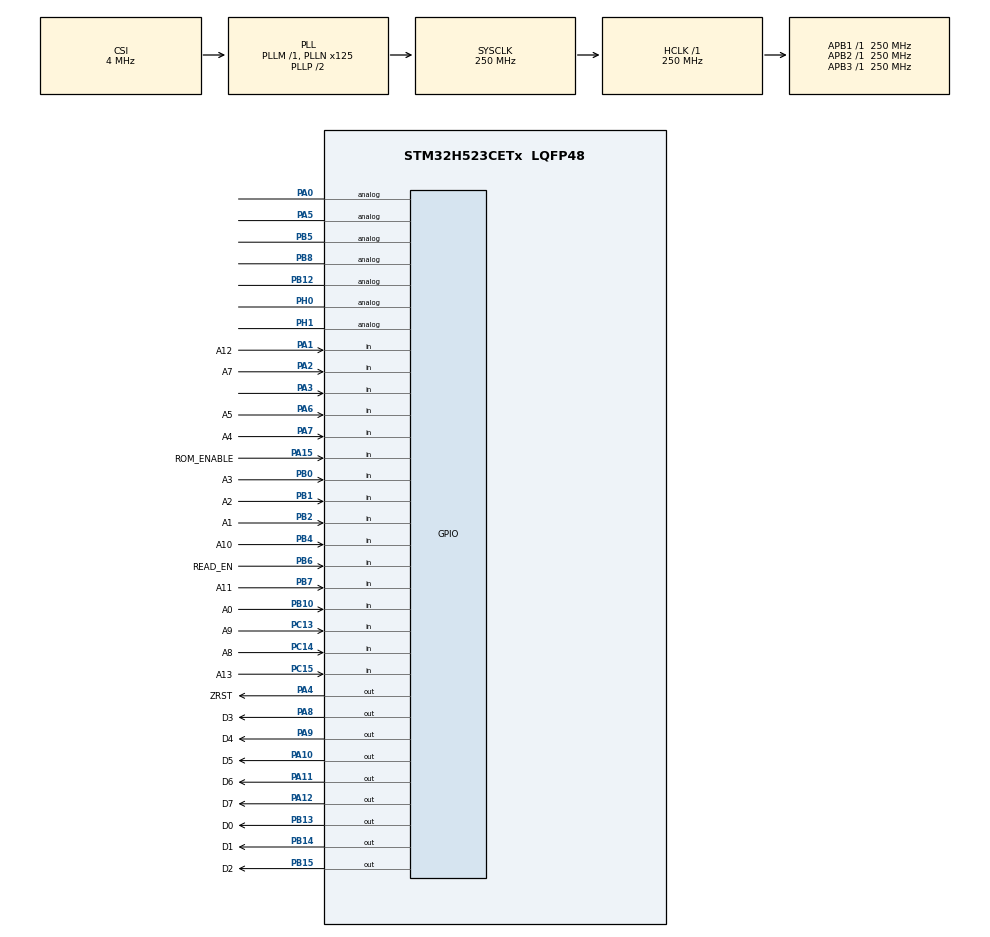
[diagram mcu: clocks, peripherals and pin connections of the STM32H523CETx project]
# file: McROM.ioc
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BOOTPATH.BootPathName=LEGACY
BOOTPATH.UserSelectedBootPath=LEGACY
CORTEX_M33_NS.Number-Cortex_Memory_Protection_Unit_Region0_OTP_RO_AREAS_Settings=MPU_REGION_NUMBER0
CORTEX_M33_NS.default_mode_Activation=1
CORTEX_M33_NS.userName=CORTEX_M33
Mcu.Family=STM32H5
Mcu.Name=STM32H523CETx
Mcu.Package=LQFP48
NVIC.PriorityGroup=NVIC_PRIORITYGROUP_4
PA0.Signal=GPIO_Analog
PA1.GPIO_Label=A12
PA1.Signal=GPIO_Input
PA10.GPIO_Label=D5
PA10.GPIO_Speed=GPIO_SPEED_FREQ_VERY_HIGH
PA10.Signal=GPIO_Output
PA11.GPIO_Label=D6
PA11.GPIO_Speed=GPIO_SPEED_FREQ_VERY_HIGH
PA11.Signal=GPIO_Output
PA12.GPIO_Label=D7
PA12.GPIO_Speed=GPIO_SPEED_FREQ_VERY_HIGH
PA12.Signal=GPIO_Output
PA13(JTMS/SWDIO).Mode=Serial_Wire
PA13(JTMS/SWDIO).Signal=DEBUG_JTMS-SWDIO
PA14(JTCK/SWCLK).Mode=Serial_Wire
PA14(JTCK/SWCLK).Signal=DEBUG_JTCK-SWCLK
PA15(JTDI).GPIO_Label=ROM_ENABLE
PA15(JTDI).Signal=GPIO_Input
PA2.GPIO_Label=A7
PA2.Signal=GPIO_Input
PA3.Signal=GPIO_Input
PA4.GPIO_Label=ZRST
PA4.GPIO_ModeDefaultOutputPP=GPIO_MODE_OUTPUT_OD
PA4.GPIO_PuPd=GPIO_NOPULL
PA4.PinState=GPIO_PIN_SET
PA4.Signal=GPIO_Output
PA5.Signal=GPIO_Analog
PA6.GPIO_Label=A5
PA6.Signal=GPIO_Input
PA7.GPIO_Label=A4
PA7.Signal=GPIO_Input
PA8.GPIO_Label=D3
PA8.GPIO_Speed=GPIO_SPEED_FREQ_VERY_HIGH
PA8.Signal=GPIO_Output
PA9.GPIO_Label=D4
PA9.GPIO_Speed=GPIO_SPEED_FREQ_VERY_HIGH
PA9.Signal=GPIO_Output
PB0.GPIO_Label=A3
PB0.Signal=GPIO_Input
PB1.GPIO_Label=A2
PB1.Signal=GPIO_Input
PB10.GPIO_Label=A0
PB10.Signal=GPIO_Input
PB12.Signal=GPIO_Analog
PB13.GPIO_Label=D0
PB13.GPIO_PuPd=GPIO_NOPULL
PB13.GPIO_Speed=GPIO_SPEED_FREQ_MEDIUM
PB13.Signal=GPIO_Output
PB14.GPIO_Label=D1
PB14.GPIO_PuPd=GPIO_NOPULL
PB14.GPIO_Speed=GPIO_SPEED_FREQ_MEDIUM
PB14.Signal=GPIO_Output
PB15.GPIO_Label=D2
PB15.GPIO_PuPd=GPIO_NOPULL
PB15.GPIO_Speed=GPIO_SPEED_FREQ_VERY_HIGH
PB15.Signal=GPIO_Output
PB2.GPIO_Label=A1
PB2.Signal=GPIO_Input
PB3(JTDO/TRACESWO).Signal=DEBUG_JTDO-SWO
PB4(NJTRST).GPIO_Label=A10
PB4(NJTRST).Signal=GPIO_Input
PB5.Signal=GPIO_Analog
PB6.GPIO_Label=READ_EN
PB6.Signal=GPIO_Input
PB7.GPIO_Label=A11
PB7.Signal=GPIO_Input
PB8.Signal=GPIO_Analog
PC13.GPIO_Label=A9
PC13.Signal=GPIO_Input
PC14-OSC32_IN(OSC32_IN).GPIO_Label=A8
PC14-OSC32_IN(OSC32_IN).Signal=GPIO_Input
PC15-OSC32_OUT(OSC32_OUT).GPIO_Label=A13
PC15-OSC32_OUT(OSC32_OUT).Signal=GPIO_Input
PH0-OSC_IN(PH0).Signal=GPIO_Analog
PH1-OSC_OUT(PH1).Signal=GPIO_Analog
ProjectManager.HeapSize=0x200
ProjectManager.StackSize=0x400
ProjectManager.TargetToolchain=CMake
RCC.ADCFreq_Value=250000000
RCC.AHBFreq_Value=250000000
RCC.APB1Freq_Value=250000000
RCC.APB1TimFreq_Value=250000000
RCC.APB2Freq_Value=250000000
RCC.APB2TimFreq_Value=250000000
RCC.APB3Freq_Value=250000000
RCC.CSI_VALUE=4000000
RCC.CortexFreq_Value=250000000
RCC.EPOD_VALUE=4000000
RCC.HCLKFreq_Value=250000000
RCC.HSE_VALUE=25000000
RCC.HSI48_VALUE=48000000
RCC.HSI_VALUE=64000000
RCC.LSE_VALUE=32768
RCC.LSIRC_VALUE=32000
RCC.PLLFRACN=0
RCC.PLLN=125
RCC.SYSCLKFreq_VALUE=250000000
RCC.SYSCLKSource=RCC_SYSCLKSOURCE_PLLCLK
RCC.USBFreq_Value=48000000
RCC.VCOOutputFreq_Value=500000000
VP_BOOTPATH_VS_BOOTPATH.Mode=BP_Activate
VP_CORTEX_M33_NS_VS_Hclk.Mode=Hclk_Mode
VP_ICACHE_VS_ICACHE.Mode=DirectMappedCache
VP_MEMORYMAP_VS_MEMORYMAP.Mode=CurAppReg
VP_PWR_VS_LPOM.Mode=PowerOptimisation
VP_PWR_VS_SECSignals.Mode=Security/Privilege
board=custom

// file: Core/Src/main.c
/* USER CODE BEGIN Header */
/**
  ******************************************************************************
  * @file           : main.c
  * @brief          : McROM STM32H523CET6
  ******************************************************************************
  */
/* USER CODE END Header */
#include "main.h"
#include "icache.h"
#include "gpio.h"

/* USER CODE BEGIN Includes */
#include <string.h>
/* USER CODE END Includes */

/* USER CODE BEGIN PD */
#define ROM_SIZE_BYTES 0x4000     // Our ROM image is 16KB
/* USER CODE END PD */

/* USER CODE BEGIN PV */
// These are labels defined in the ROM binary object rom.o
extern uint8_t _rom_bin_start[];
extern uint8_t _rom_bin_end[];
extern uint8_t _rom_bin_size;

// Create an array to hold the ROM data. We'll be indexing into this
// array to fetch the byte appropriate to a given address.
uint8_t rom_ram[ROM_SIZE_BYTES] __attribute__((aligned(4)));

// Cached MODER values
uint32_t MODER_A_OUT, MODER_A_IN;
uint32_t MODER_B_OUT, MODER_B_IN;

// Fast Data Bus LUTs - they store BSRR values for atomic port writes
uint32_t lut_data_PA[256];
uint32_t lut_data_PB[256];

/* ***DEBUG*** Debugging Buffer */
// #define LOG_SIZE 256
// uint16_t debug_addr_log[LOG_SIZE];
// uint8_t  debug_val_log[LOG_SIZE];
// volatile uint8_t debug_idx = 0;
// volatile uint8_t log_enabled = 1;

/* USER CODE END PV */

void SystemClock_Config(void);
static void MPU_Config(void);
/* USER CODE BEGIN PFP */
// Prototype of the function that provides the main loop
void ROM_Emulator_Loop(GPIO_TypeDef *pA,
  GPIO_TypeDef *pB,
  GPIO_TypeDef *pC) __attribute__((section(".RamFunc"), noinline));
/* USER CODE END PFP */

int main(void)
{

  /* USER CODE BEGIN 1 */
  /*****************************************************************************
  *****  SETUP                                                             *****
  *****************************************************************************/
  /* RESET CONTROL
    We want to hold the 65C02 in reset BEFORE the STM32 does its own
    lengthy initialisation. PA4 is Open-Drain. Writing 0 pulls it LOW.

    By setting the reset state in the first few instructions of main() (using
    raw register access), the 65C02 is held low while the STM32's voltage
    regulator stabilizes, the crystal oscillator warms up, and the LUTs are
    calculated.

    We use the raw register here because HAL isn't initialised yet.
    This ensures the 6502 stays reset even while the STM32 boots up.

    When the code finally reaches pA->BSRR = (1 << 4); in the loop, the STM32
    is already running at 250MHz+ inside ITCM RAM. It will be waiting at the
    while (pA->IDR & (1 << 15)); line before the 65C02 even completes its
    internal 7-cycle reset sequence.
  */
  // RCC->IOPENR |= RCC_IOPENR_GPIOAEN; // Ensure Port A clock is on
  // GPIOA->BSRR = (1 << (4 + 16));     // Atomic Reset (Set PA4 Low)
  // GPIOA->OTYPER |= (1 << 4);         // Ensure PA4 is Open-Drain
  // GPIOA->MODER &= ~(3 << (4 * 2));   // Clear MODER
  // GPIOA->MODER |= (1 << (4 * 2));    // Set as Output
  /* USER CODE END 1 */

  /* MCU Configuration--------------------------------------------------------*/

  /* MPU Configuration--------------------------------------------------------*/
  MPU_Config();

  /* Reset of all peripherals, Initializes the Flash interface and the Systick. */
  HAL_Init();

  /* Configure the system clock */
  SystemClock_Config();

  /* Initialize all configured peripherals */
  MX_GPIO_Init();
  MX_ICACHE_Init();
  /* USER CODE BEGIN 2 */

  // Prepare RAM
  // The actual ROM size was defined in the binary object rom.o
  // as _binary_rom_bin_size
  uintptr_t actual_rom_size = (uintptr_t)&_rom_bin_size;
  // Fill our array with 0s
  memset(rom_ram, 0, ROM_SIZE_BYTES);
  // We'll now copy the ROM data that was written into flash into our
  // RAM-resident array, because it's faster to serve data from there.
  if (actual_rom_size > 0) {
    uint32_t copy_limit = (actual_rom_size > ROM_SIZE_BYTES)
      ? ROM_SIZE_BYTES : (uint32_t)actual_rom_size;
    memcpy(rom_ram, _rom_bin_start, copy_limit);
  } else {
    // Something went wrong, so let's fill the aray with NOP opcodes
    memset(rom_ram, 0xEA, ROM_SIZE_BYTES); // NOP Fill
  }

  // Pre-calculate MODER states
  MODER_A_IN  = GPIOA->MODER & ~0x03FF0000; // Clear PA8-PA12
  MODER_A_OUT = MODER_A_IN  | 0x01550000;  // Set PA8-PA12 to Output
  MODER_B_IN  = GPIOB->MODER & ~0xFC000000; // Clear PB13-PB15
  MODER_B_OUT = MODER_B_IN  | 0x54000000;  // Set PB13-PB15 to Output

  // Pre-calculate BSRR LUTs for the Data Bus
  // Data: D0-D2 (PB13-15), D3-D7 (PA8-12)
  for(int i=0; i<256; i++) {
      // Port A: D3-D7 are bits 3-7 of 'i'. Shift to PA8-12.
      // Reset mask is top 16 bits, Set mask is bottom 16 bits.
      lut_data_PA[i] = (0x1F00 << 16) | ((i & 0xF8) << 5);

      // Port B: D0-D2 are bits 0-2 of 'i'. Shift to PB13-15.
      lut_data_PB[i] = (0xE000 << 16) | ((i & 0x07) << 13);
  }

  // Set up some pointers to the relevant ports
  GPIO_TypeDef *pA = GPIOA;
  GPIO_TypeDef *pB = GPIOB;
  GPIO_TypeDef *pC = GPIOC;

  // Turn off stuff that might mess with timing/speed.
  HAL_SuspendTick();
  __disable_irq();

  // Call the function that provides the main loop. This runs in ITCM RAM.
  ROM_Emulator_Loop(pA, pB, pC);

  // We shouldn't get any further than this.
  /* USER CODE END 2 */

  /* Infinite loop */
  while (1)
  {

  }
}

void SystemClock_Config(void)
{
  RCC_OscInitTypeDef RCC_OscInitStruct = {0};
  RCC_ClkInitTypeDef RCC_ClkInitStruct = {0};

  /** Configure the main internal regulator output voltage
  */
  __HAL_PWR_VOLTAGESCALING_CONFIG(PWR_REGULATOR_VOLTAGE_SCALE0);

  while(!__HAL_PWR_GET_FLAG(PWR_FLAG_VOSRDY)) {}

  /** Initializes the RCC Oscillators according to the specified parameters
  * in the RCC_OscInitTypeDef structure.
  */
  RCC_OscInitStruct.OscillatorType = RCC_OSCILLATORTYPE_CSI;
  RCC_OscInitStruct.CSIState = RCC_CSI_ON;
  RCC_OscInitStruct.CSICalibrationValue = RCC_CSICALIBRATION_DEFAULT;
  RCC_OscInitStruct.PLL.PLLState = RCC_PLL_ON;
  RCC_OscInitStruct.PLL.PLLSource = RCC_PLL1_SOURCE_CSI;
  RCC_OscInitStruct.PLL.PLLM = 1;
  RCC_OscInitStruct.PLL.PLLN = 125;
  RCC_OscInitStruct.PLL.PLLP = 2;
  RCC_OscInitStruct.PLL.PLLQ = 2;
  RCC_OscInitStruct.PLL.PLLR = 2;
  RCC_OscInitStruct.PLL.PLLRGE = RCC_PLL1_VCIRANGE_2;
  RCC_OscInitStruct.PLL.PLLVCOSEL = RCC_PLL1_VCORANGE_WIDE;
  RCC_OscInitStruct.PLL.PLLFRACN = 0;
  if (HAL_RCC_OscConfig(&RCC_OscInitStruct) != HAL_OK)
  {
    Error_Handler();
  }

  /** Initializes the CPU, AHB and APB buses clocks
  */
  RCC_ClkInitStruct.ClockType = RCC_CLOCKTYPE_HCLK|RCC_CLOCKTYPE_SYSCLK
                              |RCC_CLOCKTYPE_PCLK1|RCC_CLOCKTYPE_PCLK2
                              |RCC_CLOCKTYPE_PCLK3;
  RCC_ClkInitStruct.SYSCLKSource = RCC_SYSCLKSOURCE_PLLCLK;
  RCC_ClkInitStruct.AHBCLKDivider = RCC_SYSCLK_DIV1;
  RCC_ClkInitStruct.APB1CLKDivider = RCC_HCLK_DIV1;
  RCC_ClkInitStruct.APB2CLKDivider = RCC_HCLK_DIV1;
  RCC_ClkInitStruct.APB3CLKDivider = RCC_HCLK_DIV1;

  if (HAL_RCC_ClockConfig(&RCC_ClkInitStruct, FLASH_LATENCY_5) != HAL_OK)
  {
    Error_Handler();
  }

  /** Configure the programming delay
  */
  __HAL_FLASH_SET_PROGRAM_DELAY(FLASH_PROGRAMMING_DELAY_2);
}

/* USER CODE BEGIN 4 */
/**
  * @brief Core emulator loop, running in ITCM RAM
  * Shift-and-mask address reconstruction & BSRR LUT data drive.
  */
__attribute__((section(".RamFunc"), noinline))
void ROM_Emulator_Loop(GPIO_TypeDef *pA, GPIO_TypeDef *pB, GPIO_TypeDef *pC) {
    /* RELEASE THE 65C02:
    Now that the STM32 is fully initialised, in ITCM RAM, and interrupts are
    off, we release the ZRST line (PA4). Setting BSRR bit 4 pulls it High-Z,
    allowing the external pull-up to bring the 6502 to life.
    */
    pA->BSRR = (1 << 4);

    while (1) {

    // Wait for Chip Enable (/ROM_ENABLE) on pin 15 to go LOW
    while (pA->IDR & (1 << 15));

    // A very tiny delay to let the address bus stabilize
    // 6502 addresses can have "skew" where some bits arrive slightly later.
    __asm__("nop"); __asm__("nop"); __asm__("nop"); __asm__("nop");

    // We did previously wait for the PHI2-qualified /OE (/READ_EN)
    // to be low. But adding this broke things.
    // while (pB->IDR & (1 << 6));

    // Sample all address ports immediately to get a snapshot of their state.
    uint32_t rA = pA->IDR;
    uint32_t rB = pB->IDR;
    uint32_t rC = pC->IDR;

    // Reconstruct the address on the address bus using the bit we need from
    // the snapshot.
    // Mapping: A0:PB10, A1:PB2, A2:PB1, A3:PB0, A4:PA7, A5:PA6, A6:PA3, A7:PA2
    //          A8:PC14, A9:PC13, A10:PB4, A11:PB7, A12:PA1, A13:PC15
    uint16_t addr = ((rB >> 10) & 0x0001) | // A0
                    ((rB >> 1)  & 0x0002) | // A1
                    ((rB << 1)  & 0x0004) | // A2
                    ((rB << 3)  & 0x0008) | // A3
                    ((rA >> 3)  & 0x0010) | // A4
                    ((rA >> 1)  & 0x0020) | // A5
                    ((rA << 3)  & 0x0040) | // A6
                    ((rA << 5)  & 0x0080) | // A7
                    ((rC >> 6)  & 0x0100) | // A8
                    ((rC >> 4)  & 0x0200) | // A9
                    ((rB << 6)  & 0x0400) | // A10
                    ((rB << 4)  & 0x0800) | // A11
                    ((rA << 11) & 0x1000) | // A12
                    ((rC >> 2)  & 0x2000);  // A13

    // Get the data byte corresponding to the address from the ROM data array.
    uint8_t val = rom_ram[addr];

    // Pre-stage data on the Data Bus using BSRR (Atomic)
    pA->BSRR = lut_data_PA[val];
    pB->BSRR = lut_data_PB[val];

    // Drive the Data Bus
    pA->MODER = MODER_A_OUT;
    pB->MODER = MODER_B_OUT;

    // ***DEBUG*** (After Bus Drive to protect timing)
    // if (log_enabled) {
    //   debug_addr_log[debug_idx] = addr;
    //   debug_val_log[debug_idx] = val;
    //   debug_idx++;
    // }

    // Wait for /OE (/READ_EN) to go HIGH (End of cycle)
    while (!(pB->IDR & (1 << 6)));

    // Return Data Bus pins to High-Z by setting as inputs.
    pA->MODER = MODER_A_IN;
    pB->MODER = MODER_B_IN;
  }
}
/* USER CODE END 4 */

 /* MPU Configuration */

void MPU_Config(void)
{
  MPU_Region_InitTypeDef MPU_InitStruct = {0};
  MPU_Attributes_InitTypeDef MPU_AttributesInit = {0};

  /* Disables the MPU */
  HAL_MPU_Disable();

  /** Initializes and configures the Region 0 and the memory to be protected
  */
  MPU_InitStruct.Enable = MPU_REGION_ENABLE;
  MPU_InitStruct.Number = MPU_REGION_NUMBER0;
  MPU_InitStruct.BaseAddress = 0x08FFF000;
  MPU_InitStruct.LimitAddress = 0x08FFFFFF;
  MPU_InitStruct.AttributesIndex = MPU_ATTRIBUTES_NUMBER0;
  MPU_InitStruct.AccessPermission = MPU_REGION_ALL_RO;
  MPU_InitStruct.DisableExec = MPU_INSTRUCTION_ACCESS_DISABLE;
  MPU_InitStruct.IsShareable = MPU_ACCESS_NOT_SHAREABLE;

  HAL_MPU_ConfigRegion(&MPU_InitStruct);

  /** Initializes and configures the Attribute 0 and the memory to be protected
  */
  MPU_AttributesInit.Number = MPU_ATTRIBUTES_NUMBER0;
  MPU_AttributesInit.Attributes = INNER_OUTER(MPU_NOT_CACHEABLE);

  HAL_MPU_ConfigMemoryAttributes(&MPU_AttributesInit);
  /* Enables the MPU */
  HAL_MPU_Enable(MPU_PRIVILEGED_DEFAULT);

}

void Error_Handler(void)
{
  __disable_irq();
  while (1)
  {
  }
}
